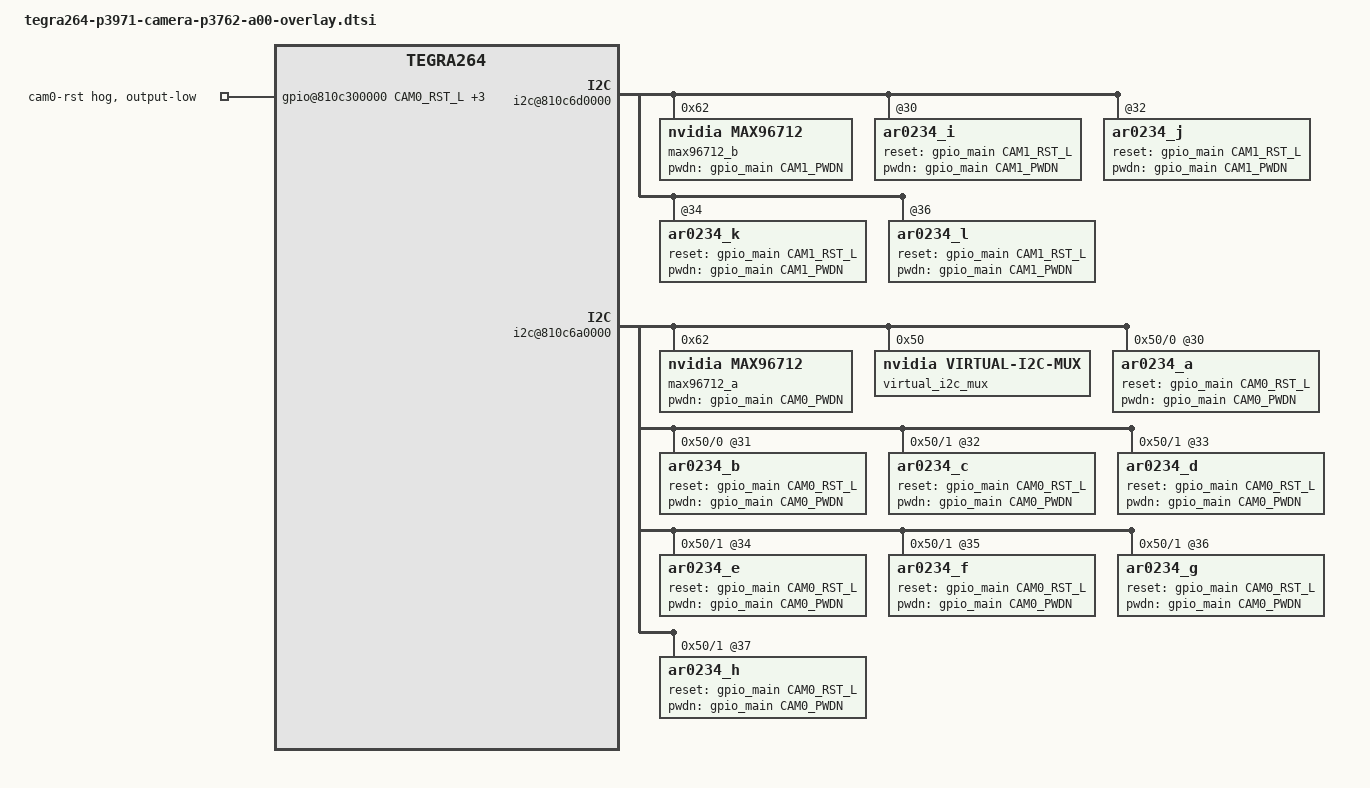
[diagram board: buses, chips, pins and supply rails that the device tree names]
// SPDX-License-Identifier: GPL-2.0-only
// SPDX-FileCopyrightText: Copyright (c) 2023-2024, NVIDIA CORPORATION & AFFILIATES. All rights reserved.

#include "tegra264-camera-p3762-a00.dtsi"
#include <dt-bindings/gpio/tegra264-gpio.h>
#include <dt-bindings/clock/tegra264-clk.h>

#define CAM0_RST_L      TEGRA264_MAIN_GPIO(V, 2)
#define CAM0_PWDN       TEGRA264_MAIN_GPIO(AL, 1)
#define CAM1_RST_L      TEGRA264_MAIN_GPIO(Q, 3)
#define CAM1_PWDN       TEGRA264_MAIN_GPIO(Q, 2)

/* Not used - #define PWR_EN          TEGRA264_MAIN_GPIO(AC, 7) */
/* disabled for now - #define GYRO1_IRQ_GPIO  TEGRA264_AON_GPIO(CC, 1) */
/* disabled for now - #define ACCE1_IRQ_GPIO  TEGRA264_AON_GPIO(CC, 0) */

/* camera control gpio definitions */
/ {
	bus@0 {
		/* set camera gpio direction to output */
		gpio@810c300000 {
			camera-control-output-low {
				gpio-hog;
				output-low;
				gpios = <CAM0_RST_L 0 CAM0_PWDN 0
					CAM1_RST_L 0 CAM1_PWDN 0>;
				label = "cam0-rst", "cam0-pwdn",
						"cam1-rst", "cam1-pwdn";
			};
		};
		i2c@810c6d0000 {
			max96712_b@62 {
				compatible = "nvidia,max96712";
				reg = <0x62>;
				channel = "b";
				pwdn-gpios = <&gpio_main CAM1_PWDN GPIO_ACTIVE_HIGH>;
				status = "okay";
			};
			ar0234_i@30 {
				status = "okay";
				def-addr = <0x18>;
				/* Define any required hw resources needed by driver */
				/* ie. clocks, io pins, power sources */
				clocks = <&bpmp TEGRA264_CLK_EXTPERIPH1>,
						<&bpmp TEGRA264_CLK_EXTPERIPH1>;
				clock-names = "extperiph1", "pllp_grtba";
				mclk = "extperiph1";
				channel = "b";
				has-eeprom;
				eeprom-addr = <0x38>;
				reset-gpios = <&gpio_main CAM1_RST_L GPIO_ACTIVE_HIGH>;
				pwdn-gpios = <&gpio_main CAM1_PWDN GPIO_ACTIVE_HIGH>;
				/* pwr-gpios = <&gpio_main PWR_EN GPIO_ACTIVE_HIGH>; */
			};
			ar0234_j@32 {
				status = "okay";
				def-addr = <0x18>;
				/* Define any required hw resources needed by driver */
				/* ie. clocks, io pins, power sources */
				clocks = <&bpmp TEGRA264_CLK_EXTPERIPH1>,
						<&bpmp TEGRA264_CLK_EXTPERIPH1>;
				clock-names = "extperiph1", "pllp_grtba";
				mclk = "extperiph1";
				channel = "b";
				has-eeprom;
				eeprom-addr = <0x3a>;
				reset-gpios = <&gpio_main CAM1_RST_L GPIO_ACTIVE_HIGH>;
				pwdn-gpios = <&gpio_main CAM1_PWDN GPIO_ACTIVE_HIGH>;
				/* pwr-gpios = <&gpio_main PWR_EN GPIO_ACTIVE_HIGH>; */
			};
			ar0234_k@34 {
				status = "okay";
				def-addr = <0x18>;
				/* Define any required hw resources needed by driver */
				/* ie. clocks, io pins, power sources */
				clocks = <&bpmp TEGRA264_CLK_EXTPERIPH1>,
						<&bpmp TEGRA264_CLK_EXTPERIPH1>;
				clock-names = "extperiph1", "pllp_grtba";
				mclk = "extperiph1";
				channel = "b";
				has-eeprom;
				eeprom-addr = <0x3c>;
				reset-gpios = <&gpio_main CAM1_RST_L GPIO_ACTIVE_HIGH>;
				pwdn-gpios = <&gpio_main CAM1_PWDN GPIO_ACTIVE_HIGH>;
				/* pwr-gpios = <&gpio_main PWR_EN GPIO_ACTIVE_HIGH>; */
			};
			ar0234_l@36 {
				status = "okay";
				def-addr = <0x18>;
				/* Define any required hw resources needed by driver */
				/* ie. clocks, io pins, power sources */
				clocks = <&bpmp TEGRA264_CLK_EXTPERIPH1>,
						<&bpmp TEGRA264_CLK_EXTPERIPH1>;
				clock-names = "extperiph1", "pllp_grtba";
				mclk = "extperiph1";
				channel = "b";
				has-eeprom;
				eeprom-addr = <0x3e>;
				reset-gpios = <&gpio_main CAM1_RST_L GPIO_ACTIVE_HIGH>;
				pwdn-gpios = <&gpio_main CAM1_PWDN GPIO_ACTIVE_HIGH>;
				/* pwr-gpios = <&gpio_main PWR_EN GPIO_ACTIVE_HIGH>; */
			};
		};
		i2c@810c6a0000 {
			max96712_a@62 {
				compatible = "nvidia,max96712";
				reg = <0x62>;
				channel = "a";
				pwdn-gpios = <&gpio_main CAM0_PWDN GPIO_ACTIVE_HIGH>;
				status = "okay";
			};
			virtual_i2c_mux@50 {
				reg = <0x50>;
				compatible = "nvidia,virtual-i2c-mux";
				#address-cells = <1>;
				#size-cells = <0>;
				i2c-parent = <&i2c9>;
				status = "okay";

				i2c@0 {
					reg = <0>;
					i2c-mux,deselect-on-exit;
					#address-cells = <1>;
					#size-cells = <0>;

					bmi088_a@69 {
						compatible = "bmi,bmi088";
						reg = <0x69>;
						accel_i2c_addr = <0x19>;
						/* accel_irq-gpios = <&gpio_main_aon ACCE1_IRQ_GPIO GPIO_ACTIVE_HIGH>; */
						/* gyro_irq-gpios = <&gpio_main_aon GYRO1_IRQ_GPIO GPIO_ACTIVE_HIGH>; */
						accel_matrix = [01 00 00 00 01 00 00 00 01];
						gyro_matrix = [01 00 00 00 01 00 00 00 01];
						gyro_reg_0x18 = <0x81>;
						/* timestamps = <&hte_aon ACCE1_IRQ_GPIO>, <&hte_aon GYRO1_IRQ_GPIO>; */
						timestamp-names = "accelerometer", "gyroscope";
						status = "disabled";
					};
					ar0234_a@30 {
						status = "okay";
						def-addr = <0x10>;
						/* Define any required hw resources needed by driver */
						/* ie. clocks, io pins, power sources */
						clocks = <&bpmp TEGRA264_CLK_EXTPERIPH1>,
								<&bpmp TEGRA264_CLK_EXTPERIPH1>;
						clock-names = "extperiph1", "pllp_grtba";
						mclk = "extperiph1";
						channel = "a";
						has-eeprom;
						eeprom-addr = <0x40>;
						reset-gpios = <&gpio_main CAM0_RST_L GPIO_ACTIVE_HIGH>;
						pwdn-gpios = <&gpio_main CAM0_PWDN GPIO_ACTIVE_HIGH>;
						/* pwr-gpios = <&gpio_main PWR_EN GPIO_ACTIVE_HIGH>; */
					};
					ar0234_b@31 {
						status = "okay";
						def-addr = <0x18>;
						/* Define any required hw resources needed by driver */
						/* ie. clocks, io pins, power sources */
						clocks = <&bpmp TEGRA264_CLK_EXTPERIPH1>,
								<&bpmp TEGRA264_CLK_EXTPERIPH1>;
						clock-names = "extperiph1", "pllp_grtba";
						mclk = "extperiph1";
						channel = "a";
						has-eeprom;
						eeprom-addr = <0x40>;
						reset-gpios = <&gpio_main CAM0_RST_L GPIO_ACTIVE_HIGH>;
						pwdn-gpios = <&gpio_main CAM0_PWDN GPIO_ACTIVE_HIGH>;
						/* pwr-gpios = <&gpio_main PWR_EN GPIO_ACTIVE_HIGH>; */
					};
				};
				i2c@1 {
					reg = <1>;
					i2c-mux,deselect-on-exit;
					#address-cells = <1>;
					#size-cells = <0>;
					ar0234_c@32 {
						status = "okay";
						def-addr = <0x10>;
						/* Define any required hw resources needed by driver */
						/* ie. clocks, io pins, power sources */
						clocks = <&bpmp TEGRA264_CLK_EXTPERIPH1>,
								<&bpmp TEGRA264_CLK_EXTPERIPH1>;
						clock-names = "extperiph1", "pllp_grtba";
						mclk = "extperiph1";
						channel = "a";
						has-eeprom;
						eeprom-addr = <0x42>;
						reset-gpios = <&gpio_main CAM0_RST_L GPIO_ACTIVE_HIGH>;
						pwdn-gpios = <&gpio_main CAM0_PWDN GPIO_ACTIVE_HIGH>;
						/* pwr-gpios = <&gpio_main PWR_EN GPIO_ACTIVE_HIGH>; */
					};
					ar0234_d@33 {
						status = "okay";
						def-addr = <0x18>;
						/* Define any required hw resources needed by driver */
						/* ie. clocks, io pins, power sources */
						clocks = <&bpmp TEGRA264_CLK_EXTPERIPH1>,
								<&bpmp TEGRA264_CLK_EXTPERIPH1>;
						clock-names = "extperiph1", "pllp_grtba";
						mclk = "extperiph1";
						channel = "a";
						has-eeprom;
						eeprom-addr = <0x42>;
						reset-gpios = <&gpio_main CAM0_RST_L GPIO_ACTIVE_HIGH>;
						pwdn-gpios = <&gpio_main CAM0_PWDN GPIO_ACTIVE_HIGH>;
						/* pwr-gpios = <&gpio_main PWR_EN GPIO_ACTIVE_HIGH>; */
					};
					ar0234_e@34 {
						status = "okay";
						def-addr = <0x10>;
						/* Define any required hw resources needed by driver */
						/* ie. clocks, io pins, power sources */
						clocks = <&bpmp TEGRA264_CLK_EXTPERIPH1>,
								<&bpmp TEGRA264_CLK_EXTPERIPH1>;
						clock-names = "extperiph1", "pllp_grtba";
						mclk = "extperiph1";
						channel = "a";
						has-eeprom;
						eeprom-addr = <0x44>;
						reset-gpios = <&gpio_main CAM0_RST_L GPIO_ACTIVE_HIGH>;
						pwdn-gpios = <&gpio_main CAM0_PWDN GPIO_ACTIVE_HIGH>;
						/* pwr-gpios = <&gpio_main PWR_EN GPIO_ACTIVE_HIGH>; */
					};
					ar0234_f@35 {
						status = "okay";
						def-addr = <0x18>;
						/* Define any required hw resources needed by driver */
						/* ie. clocks, io pins, power sources */
						clocks = <&bpmp TEGRA264_CLK_EXTPERIPH1>,
								<&bpmp TEGRA264_CLK_EXTPERIPH1>;
						clock-names = "extperiph1", "pllp_grtba";
						mclk = "extperiph1";
						channel = "a";
						has-eeprom;
						eeprom-addr = <0x44>;
						reset-gpios = <&gpio_main CAM0_RST_L GPIO_ACTIVE_HIGH>;
						pwdn-gpios = <&gpio_main CAM0_PWDN GPIO_ACTIVE_HIGH>;
						/* pwr-gpios = <&gpio_main PWR_EN GPIO_ACTIVE_HIGH>; */
					};
					ar0234_g@36 {
						status = "okay";
						def-addr = <0x10>;
						/* Define any required hw resources needed by driver */
						/* ie. clocks, io pins, power sources */
						clocks = <&bpmp TEGRA264_CLK_EXTPERIPH1>,
								<&bpmp TEGRA264_CLK_EXTPERIPH1>;
						clock-names = "extperiph1", "pllp_grtba";
						mclk = "extperiph1";
						channel = "a";
						has-eeprom;
						eeprom-addr = <0x46>;
						reset-gpios = <&gpio_main CAM0_RST_L GPIO_ACTIVE_HIGH>;
						pwdn-gpios = <&gpio_main CAM0_PWDN GPIO_ACTIVE_HIGH>;
						/* pwr-gpios = <&gpio_main PWR_EN GPIO_ACTIVE_HIGH>; */
					};
					ar0234_h@37 {
						status = "okay";
						def-addr = <0x18>;
						/* Define any required hw resources needed by driver */
						/* ie. clocks, io pins, power sources */
						clocks = <&bpmp TEGRA264_CLK_EXTPERIPH1>,
								<&bpmp TEGRA264_CLK_EXTPERIPH1>;
						clock-names = "extperiph1", "pllp_grtba";
						mclk = "extperiph1";
						channel = "a";
						has-eeprom;
						eeprom-addr = <0x46>;
						reset-gpios = <&gpio_main CAM0_RST_L GPIO_ACTIVE_HIGH>;
						pwdn-gpios = <&gpio_main CAM0_PWDN GPIO_ACTIVE_HIGH>;
						/* pwr-gpios = <&gpio_main PWR_EN GPIO_ACTIVE_HIGH>; */
					};
				};
			};
		};
	};
	tsc_sig_gen@c6a0000 {
		status = "okay";
		generator@380 {
			status = "okay";
		};
	};
};
